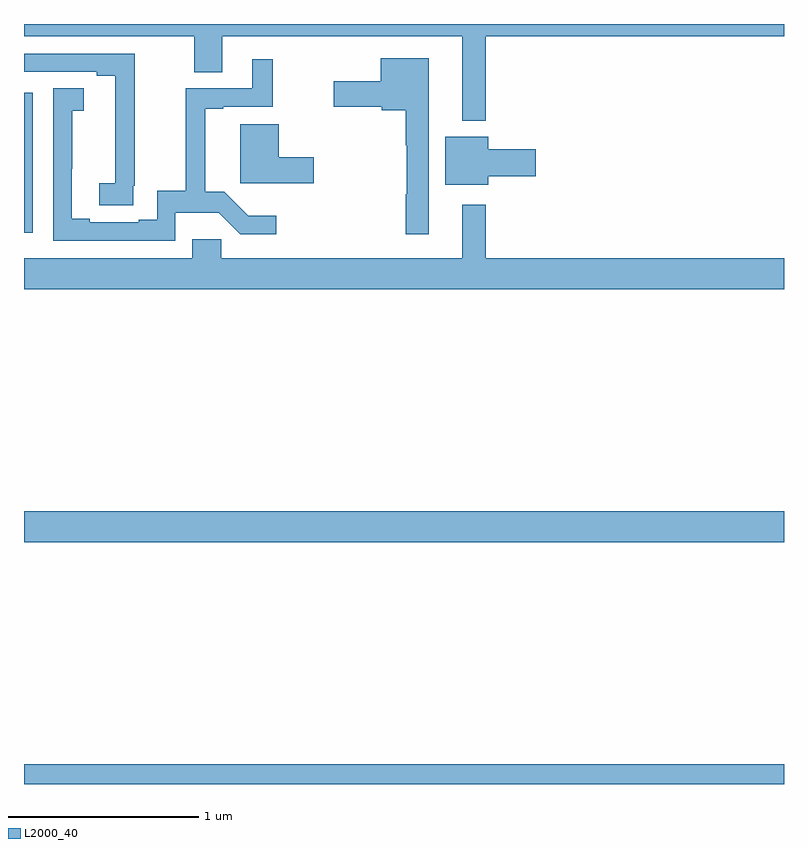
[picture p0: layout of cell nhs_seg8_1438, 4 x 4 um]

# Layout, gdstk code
import gdstk
lib = gdstk.Library(unit=1e-6, precision=1e-09)
def R(c, l, rs):  # rectangles x0, y0, x1, y1
    for r in rs: c.add(gdstk.rectangle(r[:2], r[2:], *l))
def P(c, l, *ps):  # polygons
    for p in ps: c.add(gdstk.Polygon(p, *l))
L2000_40 = (2000, 40)

nhs_seg8_1438 = lib.new_cell('nhs_seg8_1438')
R(nhs_seg8_1438, L2000_40, [(203,1109.9,207,1110.004), (203,1111.172,207,1111.336), (203,1112.801,203.047,1113.538)])
P(nhs_seg8_1438, L2000_40, [(207,1113.9),(203,1113.9),(203,1113.836),(203.896,1113.836),(203.896,1113.646),(204.043,1113.646),(204.043,1113.836),(205.307,1113.836),(205.307,1113.392),(205.429,1113.392),(205.429,1113.836),(207,1113.836)],
  [(203.576,1113.049),(203.582,1113.049),(203.582,1113.744),(203,1113.744),(203,1113.648),(203.384,1113.648),(203.384,1113.628),(203.48,1113.628),(203.48,1113.345),(203.479,1113.345),(203.479,1113.062),(203.397,1113.062),(203.397,1112.947),(203.576,1112.947)],
  [(205.129,1113.721),(204.878,1113.721),(204.878,1113.598),(204.63,1113.598),(204.63,1113.464),(204.882,1113.464),(204.882,1113.446),(205.008,1113.446),(205.008,1113.262),(205.015,1113.262),(205.015,1113.005),(205.008,1113.005),(205.008,1112.793),(205.129,1112.793)],
  [(203.796,1112.906),(204.025,1112.906),(204.138,1112.793),(204.328,1112.793),(204.328,1112.89),(204.179,1112.89),(204.053,1113.016),(203.954,1113.016),(203.954,1113.453),(204.049,1113.453),(204.049,1113.465),(204.31,1113.465),(204.31,1113.715),(204.2,1113.715),(204.2,1113.561),(203.851,1113.561),(203.851,1113.023),(203.7,1113.023),(203.7,1112.87),(203.603,1112.87),(203.603,1112.856),(203.347,1112.856),(203.347,1112.876),(203.251,1112.876),(203.251,1113.139),(203.253,1113.139),(203.253,1113.443),(203.314,1113.443),(203.314,1113.563),(203.154,1113.563),(203.154,1112.76),(203.796,1112.76)],
  [(204.526,1113.2),(204.34,1113.2),(204.34,1113.373),(204.137,1113.373),(204.137,1113.063),(204.526,1113.063)],
  [(205.444,1113.1),(205.693,1113.1),(205.693,1113.242),(205.444,1113.242),(205.444,1113.307),(205.217,1113.307),(205.217,1113.053),(205.444,1113.053)],
  [(207,1112.668),(205.429,1112.668),(205.429,1112.95),(205.307,1112.95),(205.307,1112.668),(204.037,1112.668),(204.037,1112.766),(203.885,1112.766),(203.885,1112.668),(203,1112.668),(203,1112.504),(207,1112.504)])

lib.write_gds('nhs_seg8_1438.gds')
